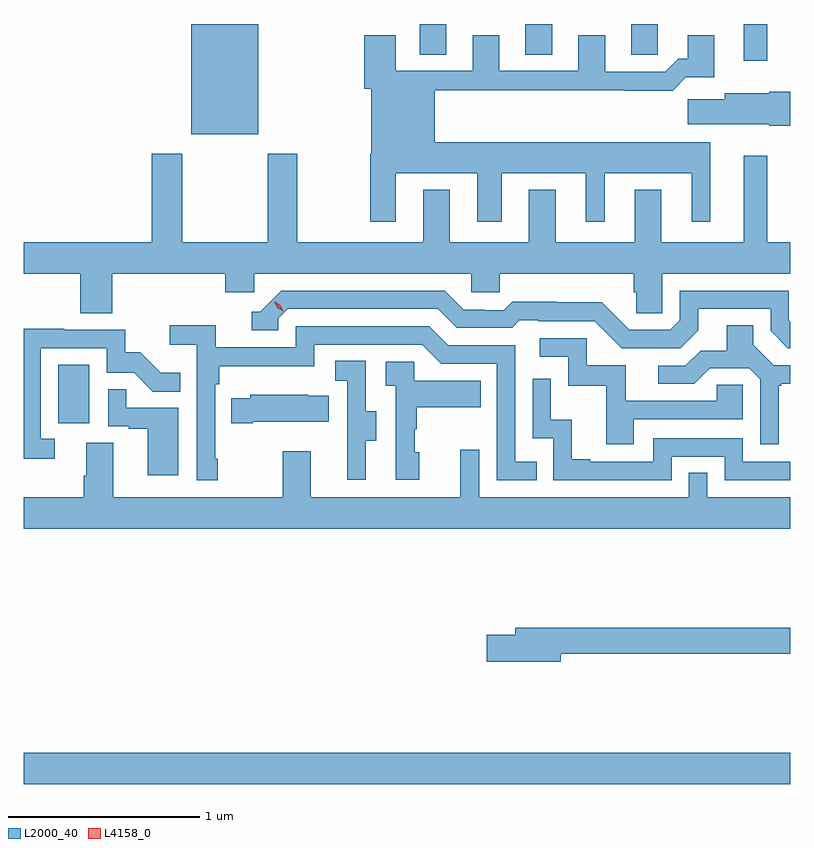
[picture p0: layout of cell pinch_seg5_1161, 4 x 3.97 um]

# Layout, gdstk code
import gdstk
lib = gdstk.Library(unit=1e-6, precision=1e-09)
def R(c, l, rs):  # rectangles x0, y0, x1, y1
    for r in rs: c.add(gdstk.rectangle(r[:2], r[2:], *l))
def P(c, l, *ps):  # polygons
    for p in ps: c.add(gdstk.Polygon(p, *l))
L2000_40 = (2000, 40)
L4158_0 = (4158, 0)

pinch_seg5_1161 = lib.new_cell('pinch_seg5_1161')
R(pinch_seg5_1161, L2000_40, [(875.319,850.1,879.319,850.264), (875.498,851.982,875.662,852.289), (876.194,853.49,876.544,854.066), (879.077,853.875,879.199,854.066), (877.385,853.906,877.525,854.066), (877.937,853.906,878.077,854.066), (878.489,853.906,878.628,854.066)])
P(pinch_seg5_1161, L2000_40, [(877.261,853.286),(877.685,853.286),(877.685,853.035),(877.813,853.035),(877.813,853.286),(878.252,853.286),(878.252,853.035),(878.35,853.035),(878.35,853.286),(878.804,853.286),(878.804,853.035),(878.902,853.035),(878.902,853.45),(877.465,853.45),(877.465,853.72),(878.449,853.72),(878.449,853.718),(878.705,853.718),(878.774,853.787),(878.923,853.787),(878.923,854.008),(878.783,854.008),(878.783,853.885),(878.734,853.885),(878.667,853.818),(878.353,853.818),(878.353,854.008),(878.213,854.008),(878.213,853.821),(877.801,853.821),(877.801,854.008),(877.661,854.008),(877.661,853.821),(877.261,853.821),(877.261,854.008),(877.097,854.008),(877.097,853.728),(877.133,853.728),(877.133,853.39),(877.126,853.39),(877.126,853.035),(877.261,853.035)],
  [(879.319,853.713),(879.21,853.713),(879.21,853.705),(878.978,853.705),(878.978,853.673),(878.784,853.673),(878.784,853.544),(879.21,853.544),(879.21,853.535),(879.319,853.535)],
  [(875.78,852.764),(876.371,852.764),(876.371,852.666),(876.522,852.666),(876.522,852.764),(877.653,852.764),(877.653,852.666),(877.803,852.666),(877.803,852.764),(878.501,852.764),(878.501,852.666),(878.515,852.666),(878.515,852.556),(878.652,852.556),(878.652,852.764),(879.319,852.764),(879.319,852.928),(879.199,852.928),(879.199,853.378),(879.077,853.378),(879.077,852.928),(878.647,852.928),(878.647,853.201),(878.507,853.201),(878.507,852.928),(878.095,852.928),(878.095,853.201),(877.955,853.201),(877.955,852.928),(877.543,852.928),(877.543,853.201),(877.403,853.201),(877.403,852.928),(876.747,852.928),(876.747,853.39),(876.592,853.39),(876.592,852.928),(876.147,852.928),(876.147,853.39),(875.987,853.39),(875.987,852.928),(875.319,852.928),(875.319,852.764),(875.615,852.764),(875.615,852.556),(875.78,852.556)],
  [(878.839,852.469),(878.839,852.579),(879.216,852.579),(879.216,852.465),(879.306,852.375),(879.319,852.375),(879.319,852.512),(879.312,852.519),(879.312,852.675),(878.742,852.675),(878.742,852.519),(878.694,852.471),(878.478,852.471),(878.336,852.613),(878.1,852.613),(878.1,852.616),(877.867,852.616),(877.825,852.573),(877.722,852.573),(877.722,852.576),(877.615,852.576),(877.516,852.675),(876.663,852.675),(876.552,852.564),(876.509,852.564),(876.509,852.468),(876.648,852.468),(876.648,852.531),(876.696,852.579),(877.479,852.579),(877.578,852.48),(877.867,852.48),(877.906,852.519),(878.005,852.519),(878.005,852.516),(878.298,852.516),(878.439,852.375),(878.745,852.375)],
  [(876.331,851.797),(876.318,851.797),(876.318,852.185),(876.338,852.185),(876.338,852.281),(876.834,852.281),(876.834,852.393),(877.398,852.393),(877.497,852.294),(877.788,852.294),(877.788,851.685),(877.997,851.685),(877.997,851.781),(877.884,851.781),(877.884,852.39),(877.534,852.39),(877.435,852.489),(876.738,852.489),(876.738,852.378),(876.32,852.378),(876.32,852.494),(876.081,852.494),(876.081,852.392),(876.222,852.392),(876.222,851.685),(876.331,851.685)],
  [(879.259,852.177),(879.271,852.177),(879.271,852.188),(879.319,852.188),(879.319,852.285),(879.234,852.285),(879.127,852.392),(879.127,852.494),(878.987,852.494),(878.987,852.362),(878.852,852.362),(878.772,852.282),(878.631,852.282),(878.631,852.189),(878.818,852.189),(878.899,852.27),(879.105,852.27),(879.162,852.213),(879.162,851.874),(879.259,851.874)],
  [(875.482,851.901),(875.409,851.901),(875.409,852.375),(875.751,852.375),(875.751,852.246),(875.895,852.246),(875.993,852.148),(876.137,852.148),(876.137,852.247),(876.033,852.247),(875.926,852.354),(875.85,852.354),(875.85,852.471),(875.531,852.471),(875.531,852.476),(875.319,852.476),(875.319,851.796),(875.482,851.796)],
  [(878.503,852.003),(879.072,852.003),(879.072,852.183),(878.935,852.183),(878.935,852.099),(878.461,852.099),(878.461,852.285),(878.256,852.285),(878.256,852.426),(878.013,852.426),(878.013,852.33),(878.16,852.33),(878.16,852.177),(878.359,852.177),(878.359,851.874),(878.503,851.874)],
  [(877.105,851.89),(877.159,851.89),(877.159,852.045),(877.104,852.045),(877.104,852.308),(876.945,852.308),(876.945,852.205),(877.008,852.205),(877.008,851.901),(877.007,851.901),(877.007,851.688),(877.105,851.688)],
  [(877.384,851.832),(877.359,851.832),(877.359,851.951),(877.369,851.951),(877.369,852.065),(877.703,852.065),(877.703,852.205),(877.356,852.205),(877.356,852.303),(877.209,852.303),(877.209,852.179),(877.26,852.179),(877.26,851.688),(877.384,851.688)],
  [(878.7,851.808),(878.976,851.808),(878.976,851.685),(879.319,851.685),(879.319,851.781),(879.072,851.781),(879.072,851.904),(878.604,851.904),(878.604,851.781),(878.275,851.781),(878.275,851.794),(878.18,851.794),(878.18,852.002),(878.07,852.002),(878.07,852.214),(877.974,852.214),(877.974,851.904),(878.082,851.904),(878.082,851.685),(878.7,851.685)],
  [(876.124,852.063),(875.855,852.063),(875.855,852.161),(875.76,852.161),(875.76,851.967),(875.867,851.967),(875.867,851.955),(875.966,851.955),(875.966,851.712),(876.124,851.712)],
  [(876.514,851.99),(876.911,851.99),(876.911,852.127),(876.803,852.127),(876.803,852.13),(876.501,852.13),(876.501,852.112),(876.403,852.112),(876.403,851.983),(876.514,851.983)],
  [(879.319,851.596),(878.886,851.596),(878.886,851.723),(878.79,851.723),(878.79,851.596),(877.695,851.596),(877.695,851.845),(877.598,851.845),(877.598,851.596),(876.817,851.596),(876.817,851.836),(876.67,851.836),(876.67,851.596),(875.785,851.596),(875.785,851.882),(875.645,851.882),(875.645,851.708),(875.633,851.708),(875.633,851.596),(875.319,851.596),(875.319,851.432),(879.319,851.432)],
  [(878.122,850.78),(879.319,850.78),(879.319,850.916),(877.883,850.916),(877.883,850.88),(877.734,850.88),(877.734,850.738),(878.122,850.738)])
P(pinch_seg5_1161, L4158_0, [(876.673,852.566),(876.642,852.586),(876.627,852.618),(876.627,852.619),(876.627,852.619),(876.657,852.599),(876.673,852.566),(876.673,852.566)])

lib.write_gds('pinch_seg5_1161.gds')
